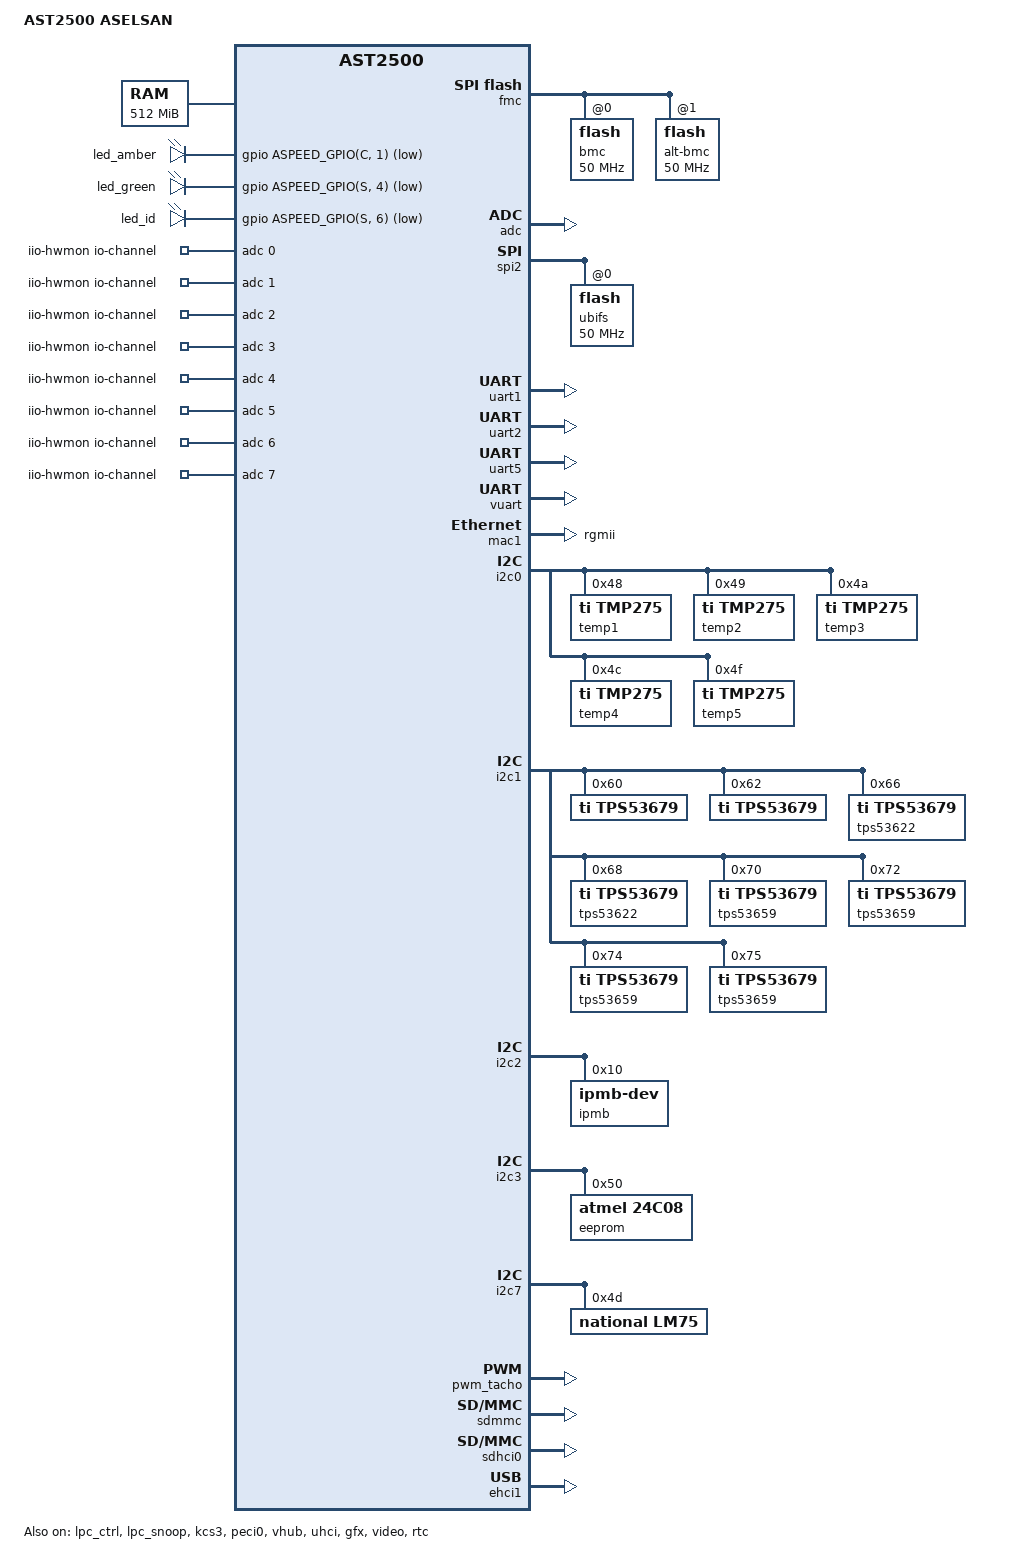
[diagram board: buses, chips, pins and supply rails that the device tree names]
// SPDX-License-Identifier: GPL-2.0+
/dts-v1/;

#include "aspeed-g5.dtsi"
#include <dt-bindings/gpio/aspeed-gpio.h>
/ {
	model = "AST2500 ASELSAN";
	compatible = "aspeed,ast2500";

	aliases {
		serial4 = &uart5;
	};

	chosen {
		stdout-path = &uart5;
		bootargs = "console=tty0 console=ttyS4,115200 earlycon";
	};

	memory@80000000 {
		reg = <0x80000000 0x20000000>;
	};

	reserved-memory {
		#address-cells = <1>;
		#size-cells = <1>;
		ranges;

		gfx_memory: framebuffer {
			size = <0x01000000>;
			alignment = <0x01000000>;
			compatible = "shared-dma-pool";
			reusable;
		};

		video_engine_memory: jpegbuffer {
			size = <0x02000000>;	/* 32MM */
			alignment = <0x01000000>;
			compatible = "shared-dma-pool";
			reusable;
 		};
 		
		flash_memory: region@98000000 {
			no-map;
			reg = <0x98000000 0x02000000>; /* 32M */
		};	
	};

	leds {
		compatible = "gpio-leds";

		led_amber {
			label = "led_amber";
			gpios = <&gpio ASPEED_GPIO(C, 1) GPIO_ACTIVE_LOW>;
		};
			
		led_green {
			label = "led_green";
			gpios = <&gpio ASPEED_GPIO(S, 4) GPIO_ACTIVE_LOW>;
		};
			
		led_id {
			label = "led_id";
			gpios = <&gpio ASPEED_GPIO(S, 6) GPIO_ACTIVE_LOW>;
		};		
	};
	
	iio-hwmon {
		compatible = "iio-hwmon";
		io-channels = <&adc 0>, <&adc 1>, <&adc 2>, <&adc 3>,
		<&adc 4>, <&adc 5>, <&adc 6>, <&adc 7>,
		<&adc 8>, <&adc 9>, <&adc 10>,<&adc 11>,
		<&adc 12>,<&adc 13>,<&adc 14>,<&adc 15>;
	};	
};

&fmc {
	status = "okay";
	flash@0 {
		status = "okay";
		m25p,fast-read;
		label = "bmc";
		spi-max-frequency = <50000000>;
#include "openbmc-flash-layout.dtsi"
	};
	
	flash@1 {
		status = "okay";
		m25p,fast-read;
		label = "alt-bmc";
		spi-max-frequency = <50000000>;
#include "openbmc-flash-layout_backup.dtsi"
	};	
};

&adc {
	status = "okay";
};

&lpc_ctrl {
	status = "okay";
	//memory-region = <&flash_memory>;
	//flash = <&spi2>;	
};

&lpc_snoop {
	status = "okay";
	snoop-ports = <0x80>, <0x81>;
};

&kcs1 {
	status = "disabled";
	aspeed,lpc-io-reg = <0x60>;
};

&kcs2 {
	status = "disabled";
	aspeed,lpc-io-reg = <0x62>;
};

&kcs3 {
	status = "okay";
	aspeed,lpc-io-reg = <0xCA2>;
};

&kcs4 {
	status = "disabled";
	aspeed,lpc-io-reg = <0x97DE>;
};

&ibt {
	status = "disabled";
};

&wdt2 {
	aspeed,alt-boot;
};

&uart_routing {
// HICRA route sel2DW
	reg = <0x9c 0x4>;
	status = "disabled";
};

&spi1 {
	status = "disabled";
	flash@0 {
		status = "disabled";
		m25p,fast-read;
		label = "pnor";
		spi-max-frequency = <100000000>;
	};
};

&spi2 {
	status = "okay";
	pinctrl-names = "default";
	pinctrl-0 = <&pinctrl_spi2ck_default &pinctrl_spi2cs0_default &pinctrl_spi2miso_default &pinctrl_spi2mosi_default>;

	flash@0 {
		status = "okay";
		m25p,fast-read;
		label = "ubifs";
		spi-max-frequency = <50000000>;
	};
};

&uart1 {
	status = "okay";
	pinctrl-names = "default";
	pinctrl-0 = <&pinctrl_txd1_default
			     &pinctrl_rxd1_default
			     &pinctrl_nrts1_default
			     &pinctrl_ndtr1_default
			     &pinctrl_ndsr1_default
			     &pinctrl_ncts1_default
			     &pinctrl_ndcd1_default
			     &pinctrl_nri1_default>;
};

&uart2 {
	status = "okay";
	pinctrl-names = "default";
	pinctrl-0 = <&pinctrl_txd2_default
			     &pinctrl_rxd2_default
			     &pinctrl_nrts2_default
			     &pinctrl_ndtr2_default
			     &pinctrl_ndsr2_default
			     &pinctrl_ncts2_default
			     &pinctrl_ndcd2_default
			     &pinctrl_nri2_default>;
};

&uart5 {
	status = "okay";
};

&vuart {
	status = "okay";
};

/*
&mac0 {
	status = "okay";

	pinctrl-names = "default";
	pinctrl-0 = <&pinctrl_rgmii1_default &pinctrl_mdio1_default>;
	// Below is the default MAC address and it should be updated via u-boot
	mac-address = [00 03 73 00 00 00];

	phy-mode = "rgmii";

};
*/

&mac1 {
 	status = "okay";
 
 	pinctrl-names = "default";
 	pinctrl-0 = <&pinctrl_rgmii2_default &pinctrl_mdio2_default>;
	/*Below is the default MAC address and it should be updated via u-boot*/
	mac-address = [00 03 73 00 00 01];

	phy-mode = "rgmii";
};

&i2c0 {
	status = "okay";
	//Airmax Conn B, CPU0 PIROM, CPU1 PIROM

	temp1@48 {
		compatible = "ti,tmp275";
		reg = <0x48>;
		status = "okay";
	};
	
	temp2@49 {
		compatible = "ti,tmp275";
		reg = <0x49>;
		status = "okay";
	};
		
	temp3@4a {
		compatible = "ti,tmp275";
		reg = <0x4a>;
		status = "okay";
	};
		
	temp4@4c {
		compatible = "ti,tmp275";
		reg = <0x4c>;
		status = "okay";
	};

	temp5@4f {
		compatible = "ti,tmp275";
		reg = <0x4f>;
		status = "okay";
	};
};

&i2c1 {
	status = "okay";

	tps53679@60 {
		compatible = "ti,tps53679";
		reg = <0x60>;
	};

	tps53679@62 {
		compatible = "ti,tps53679";
		reg = <0x62>;
	};
	
	tps53622@66 {
		compatible = "ti,tps53679";
		reg = <0x66>;
	};
	
	tps53622@68 {
		compatible = "ti,tps53679";
		reg = <0x68>;
	};

	tps53659@70 {
		compatible = "ti,tps53679";
		reg = <0x70>;
	};
		
	tps53659@72 {
		compatible = "ti,tps53679";
		reg = <0x72>;
	};
	
	tps53659@74 {
		compatible = "ti,tps53679";
		reg = <0x74>;
	};
	
	tps53659@75 {
		compatible = "ti,tps53679";
		reg = <0x75>;
	};
};

&i2c2 {
	status = "okay";
    
    ipmb@10 {
        compatible = "ipmb-dev";
        reg = <0x10>;
        i2c-protocol;
    };
};

&i2c3 {
	status = "okay";

	eeprom@50 {
		compatible = "atmel,24c08";
		reg = <0x50>;
		pagesize = <16>;
	};
};

&i2c7 {
	status = "okay";

	lm75@4d {
		compatible = "national,lm75";
		reg = <0x4d>;
	};
};

&pwm_tacho {
	status = "okay";
	pinctrl-names = "default";
	pinctrl-0 = <&pinctrl_pwm0_default &pinctrl_pwm1_default
				 &pinctrl_pwm2_default &pinctrl_pwm3_default>;

	fan@0 {
		reg = <0x00>;
		aspeed,fan-tach-ch = /bits/ 8 <0x00>;
	};
	
	fan@1 {
		reg = <0x01>;
		aspeed,fan-tach-ch = /bits/ 8 <0x01>;
	};
	
	fan@2 {
		reg = <0x02>;
		aspeed,fan-tach-ch = /bits/ 8 <0x02>;
	};
	
	fan@3 {
		reg = <0x03>;
		aspeed,fan-tach-ch = /bits/ 8 <0x03>;
	};
};

&peci0 {
	status = "okay";
};

&sdmmc {
	status = "okay";
};

&sdhci0 {
	status = "okay";

	pinctrl-names = "default";
	pinctrl-0 = <&pinctrl_sd1_default>;
};

/*
 * Enable port A as device (via the virtual hub) and port B as
 * host by default on the eval board. This can be easily changed
 * by replacing the override below with &ehci0 { ... } to enable
 * host on both ports.
 */
&vhub {
	status = "okay";
};

&ehci1 {
	status = "okay";
};

&uhci {
	status = "okay";
};

&gfx {
     status = "okay";
     memory-region = <&gfx_memory>;
};

&video {
	status = "okay";
	memory-region = <&video_engine_memory>;
};

&rtc {
	status = "okay";
};
&gpio {
	gpio-line-names =
	/*A0-A7*/	"","","","","","","","",
	/*B0-B7*/	"","","","","","","","",
	/*C0-C7*/	"","","","","","","","",
	/*D0-D7*/	"","","","","","","","",
	/*E0-E7*/	"","","","","","","","",
	/*F0-F7*/	"","","","","","","","",
	/*G0-G7*/	"","","","","","","","",
	/*H0-H7*/	"","","","","","","","",
	/*I0-I7*/	"","","","","","","","",
	/*J0-J7*/	"","","","","","","","",
	/*K0-K7*/	"","","","","","","","",
	/*L0-L7*/	"","","","","","","","",
	/*M0-M7*/	"","","","","","","","",
	/*N0-N7*/	"","","","",
		        "","","","",
	/*O0-O7*/	"","","","","","","","",
	/*P0-P7*/	"","","","","","","","",
	/*Q0-Q7*/	"","","","","","","","",
	/*R0-R7*/	"","","","","","","","",
	/*S0-S7*/	"","","","","","","","",
	/*T0-T7*/	"","","","","","","","",
	/*U0-U7*/	"","","","","","","","",
	/*V0-V7*/	"","","","","","","","",
	/*W0-W7*/	"","","","","","","","",
	/*X0-X7*/	"","","","","","","","",
	/*Y0-Y7*/	"","","","","","","","",
	/*Z0-Z7*/	"","host0-ready","","","","","","",
	/*AA0-AA7*/	"","","","","","","","",
	/*AB0-AB7*/	"","","","","","","","",
	/*AC0-AC7*/	"","","","","","","","";
};
